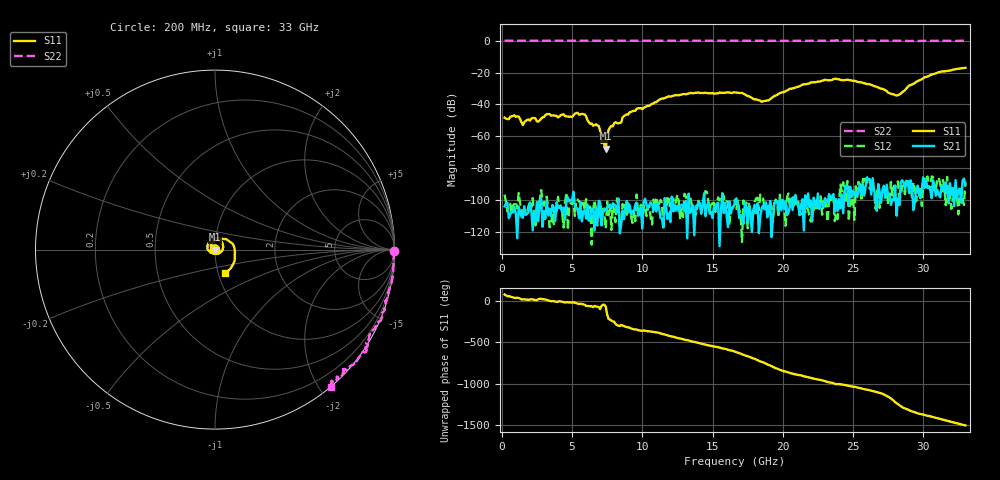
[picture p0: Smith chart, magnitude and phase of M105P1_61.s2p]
# GHZ S RI R 50
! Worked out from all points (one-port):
!   329 points, 200 MHz to 33 GHz, reference 50 ohm
!   lowest |S11| = -67.7 dB at 7.4 GHz (marker M1), VSWR 1.00, Z = 50 - j0.0378 ohm
!   |S11| at or under -10 dB: start of sweep to end of sweep
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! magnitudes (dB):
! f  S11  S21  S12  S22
! 200 MHz  -48.3  -103.9  -96.5  0.0
! 1.2 GHz  -47.5  -104.1  -95.5  0.0
! 1.5 GHz  -52.9  -111.0  -111.6  0.0
! 3.3 GHz  -46.0  -108.9  -106.0  0.0
! 5.7 GHz  -45.9  -113.2  -104.4  0.0
! 6.3 GHz  -52.2  -109.8  -104.3  0.0
! 6.9 GHz  -53.5  -100.5  -111.5  0.0
! 7 GHz  -56.4  -101.2  -102.6  0.0
! 7.1 GHz  -64.2  -115.9  -106.0  0.0
! 7.2 GHz  -62.4  -107.1  -105.9  0.0
! 7.4 GHz  -67.7  -106.4  -117.7  0.0
! 7.6 GHz  -56.1  -103.6  -109.5  0.0
! 8 GHz  -51.7  -102.6  -106.4  0.0
! 11.2 GHz  -37.1  -105.3  -102.0  0.0
! 16.6 GHz  -32.4  -101.8  -99.7  0.0
! 18.5 GHz  -38.4  -105.0  -98.3  -0.1
! 22.1 GHz  -26.2  -113.2  -106.2  -0.1
! 24.6 GHz  -24.5  -91.5  -88.0  0.0
! 27.6 GHz  -33.0  -97.1  -100.6  -0.1
! 28.2 GHz  -34.2  -98.8  -88.2  -0.1
! 30.1 GHz  -23.0  -92.2  -86.5  -0.1
! 33 GHz  -17.0  -90.2  -88.2  0.0
